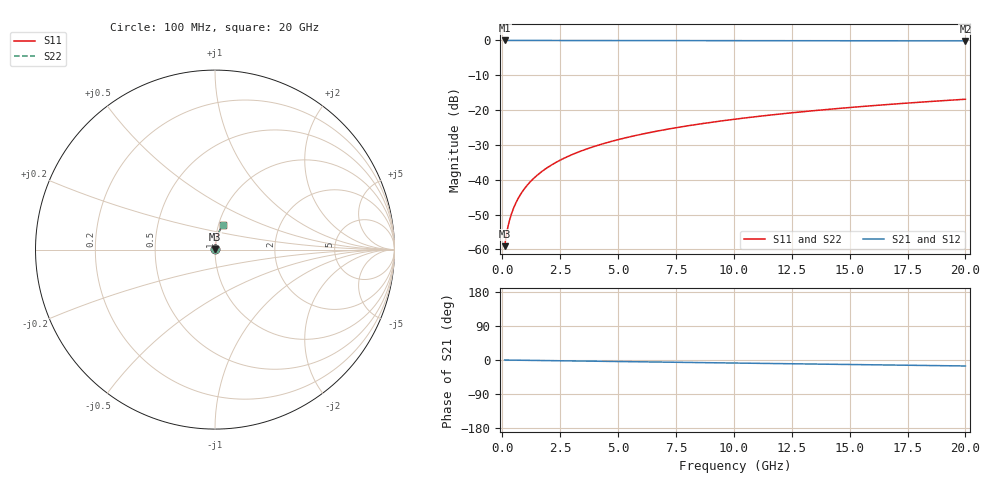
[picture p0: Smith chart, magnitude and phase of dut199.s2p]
! Touchstone file exported from HFSS 2026.1.0
!  File:  C:/ffzhzh/LocalFiles/Ansys_Project_Files/temp_train_BSMRDL_199_1782987693_42984.aedt
!  Generated:  06:22:44 PM Jul  2, 2026
!  Design:  BSMRDL
!  Project:  temp_train_BSMRDL_199_1782987693_42984
! Variables:
!  h_bsmrdl = 4.52um
!  h_ox = 20um
!  h_rdl = 5um
!  h_sub = 80um
!  h_tmrdl = 5um
!  h_tsv = 80um
!  h_via = 3um
!  l_bsmrdl = 198.63um
!  l_sub = 598.63um
!  l_tmrdl = 200um
!  m_sub = 200um
!  pitch = 55.7um
!  r_tsv = 6um
!  s_tmrdl = 10um
!  w_bsmrdl = 29.89um
!  w_sub = 500um
!  w_tmrdl = 12um
!  x_tsv_center1 = 206um
!  x_tsv_center2 = 434.52um
!  x_tsv_center3 = 646.52um
!  x_tsv_center4 = 875.04um
!  x_tsv_center5 = 1087.04um
!  x_tsv_center6 = 1315.56um
# GHz S MA R 50.000000
! Terminal data exported
! Port[1] = BSM_RDL1_1_T1
! Port[2] = BSM_RDL1_1_T2
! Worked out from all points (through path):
!   200 points, 100 MHz to 20 GHz, reference 50 ohm
!   highest |S21| = -0.01 dB at 100 MHz (marker M1); lowest = -0.1 dB at 20 GHz (marker M2)
!   group delay of S21, straight-line fit = 2.19 ps
!   lowest |S11| = -59.0 dB at 100 MHz (marker M3), VSWR 1.00, Z = 50.1 + j0.0848 ohm
!   |S11| at or under -10 dB: start of sweep to end of sweep
!   |S22| runs from -59.0 to -16.9 dB; largest |S21 - S12| = 4.1e-15
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0.1  0.001116 49.3  0.9993 -0.1  0.9993 -0.1  0.001116 49.3
! Gamma 0 0 0 0
! Port Impedance 50 0 50 0
0.2  0.001818 64.2  0.9992 -0.2  0.9992 -0.2  0.001818 64.2
0.3  0.002542 70.7  0.9992 -0.3  0.9992 -0.3  0.002542 70.7
0.4  0.003274 74.5  0.9991 -0.3  0.9991 -0.3  0.003274 74.5
0.5  0.004015 77.0  0.9991 -0.4  0.9991 -0.4  0.004015 77.0
0.7  0.005513 80.0  0.9991 -0.6  0.9991 -0.6  0.005513 80.0
0.8  0.006268 80.9  0.999 -0.7  0.999 -0.7  0.006268 80.9
1  0.007783 82.2  0.999 -0.8  0.999 -0.8  0.007783 82.2
1.2  0.009301 83.0  0.999 -1.0  0.999 -1.0  0.009301 83.0
1.4  0.01082 83.5  0.9989 -1.1  0.9989 -1.1  0.01082 83.5
1.7  0.0131 84.0  0.9988 -1.4  0.9988 -1.4  0.0131 84.0
2  0.01537 84.2  0.9988 -1.6  0.9988 -1.6  0.01537 84.2
2.7  0.02065 84.3  0.9985 -2.2  0.9985 -2.2  0.02065 84.3
3.5  0.02663 84.0  0.9982 -2.8  0.9982 -2.8  0.02663 84.0
4.2  0.03182 83.6  0.9979 -3.4  0.9979 -3.4  0.03182 83.6
5  0.03771 83.2  0.9975 -4.0  0.9975 -4.0  0.03771 83.2
6.8  0.05081 82.0  0.9965 -5.5  0.9965 -5.5  0.05081 82.0
8.3  0.06163 81.0  0.9956 -6.6  0.9956 -6.6  0.06163 81.0
10.1  0.07451 79.8  0.9944 -8.1  0.9944 -8.1  0.07451 79.8
13.4  0.09784 77.4  0.9919 -10.6  0.9919 -10.6  0.09784 77.4
16.7  0.1208 75.1  0.989 -13.2  0.989 -13.2  0.1208 75.1
20  0.1433 72.7  0.9857 -15.8  0.9857 -15.8  0.1433 72.6
